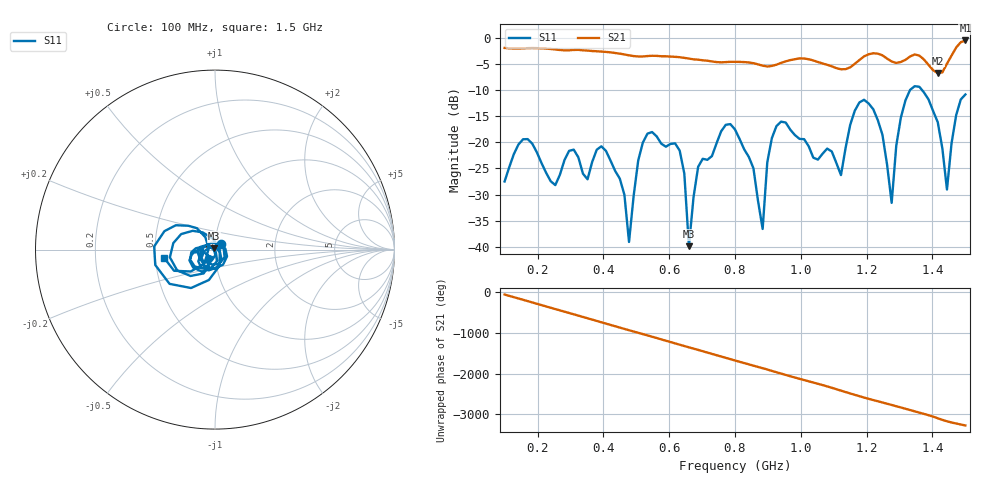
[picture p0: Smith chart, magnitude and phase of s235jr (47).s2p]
! NanoVNA-App
! Date: 2025-09-25 15:04:31
! Start: 100MHz Stop: 1,5GHz Points: 101
! S-Parameter data: F S11 S21 S12 S22
# Hz S RI R 50
!  Frequency  S11_Real  S11_Imag  S21_Real  S21_Imag  S12_Real  S12_Imag  S22_Real  S22_Imag
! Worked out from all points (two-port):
!   101 points, 100 MHz to 1.5 GHz, reference 50 ohm
!   highest |S21| = -0.53 dB at 1.5 GHz (marker M1); lowest = -6.8 dB at 1.416 GHz (marker M2)
!   |S21| within 3 dB of the highest: start of sweep to 495.3 MHz; 1.194 GHz to 1.252 GHz (57.73 MHz wide, 4.72 % of centre) (the widest 2 of 5)
!   lowest |S11| = -39.8 dB at 660 MHz (marker M3), VSWR 1.02, Z = 49.2 + j0.65 ohm
!   |S11| at or under -10 dB: start of sweep to 1.332 GHz; 1.368 GHz to end of sweep
!   S12 and S22 are empty: the file has one direction only
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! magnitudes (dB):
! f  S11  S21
! 100 MHz  -27.5  -2.0
! 156 MHz  -19.4  -2.0
! 338 MHz  -26.0  -2.4
! 408 MHz  -21.6  -2.7
! 478 MHz  -39.0  -3.4
! 520 MHz  -20.1  -3.6
! 576 MHz  -20.3  -3.5
! 632 MHz  -21.6  -3.7
! 660 MHz  -39.8  -4.0
! 688 MHz  -24.7  -4.2
! 800 MHz  -17.5  -4.6
! 884 MHz  -36.6  -5.4
! 926 MHz  -16.9  -5.2
! 1.038 GHz  -22.9  -4.4
! 1.122 GHz  -26.3  -6.0
! 1.192 GHz  -11.9  -3.6
! 1.248 GHz  -18.6  -3.4
! 1.276 GHz  -31.6  -4.6
! 1.332 GHz  -10.0  -3.6
! 1.416 GHz  -16.1  -6.8
! 1.444 GHz  -29.0  -5.0
! 1.5 GHz  -10.9  -0.5
